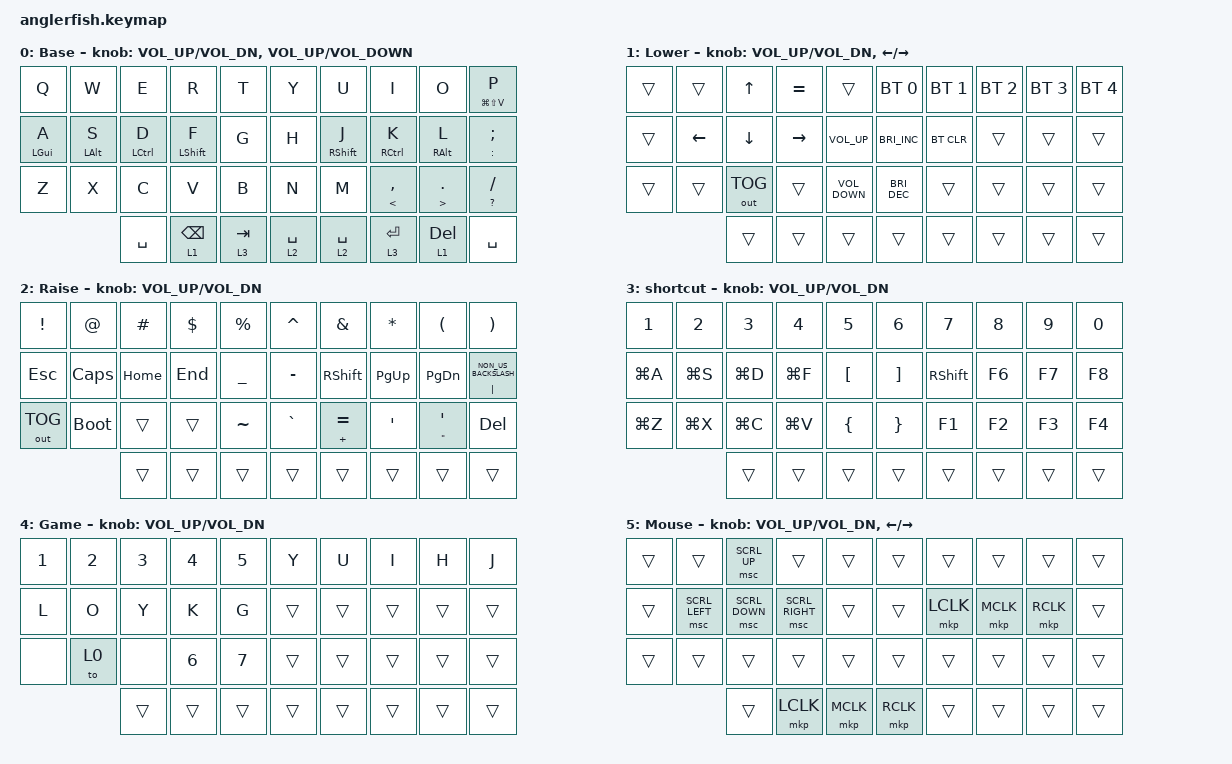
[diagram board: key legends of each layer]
#include <behaviors/mouse_keys.dtsi>
#include <dt-bindings/zmk/mouse.h>
#include <behaviors.dtsi>
#include <dt-bindings/zmk/bt.h>
#include <dt-bindings/zmk/keys.h>
#include <dt-bindings/zmk/outputs.h>
#include <dt-bindings/zmk/pointing.h>

&lt {
    tapping-term-ms = <240>;
    flavor = "balanced";
    quick-tap-ms = <150>;
};

&mt {
    global-quick-tap;
    flavor = "tap-preferred";
    tapping-term-ms = <200>;
};

&sk {
    release-after-ms = <2000>;
    quick-release;
};

/ {
    macros {
        bootload_macro: bootload_macro {
            compatible = "zmk,behavior-macro";
            #binding-cells = <0>;
            bindings = <&bootloader>;
            label = "BOOTLOAD_MACRO";
        };
    };

    combos {
        compatible = "zmk,combos";

        combo_esc {
            timeout-ms = <50>;
            key-positions = <0 1>;
            bindings = <&kp ESC>;
        };

        left_bkt {
            bindings = <&kp LEFT_BRACKET>;
            key-positions = <2 3>;
            timeout-ms = <50>;
        };

        right_bkt {
            bindings = <&kp RIGHT_BRACKET>;
            key-positions = <7 6>;
            timeout-ms = <50>;
        };

        left_par {
            bindings = <&kp LEFT_PARENTHESIS>;
            key-positions = <12 13>;
            timeout-ms = <50>;
        };

        right_par {
            bindings = <&kp RIGHT_PARENTHESIS>;
            key-positions = <16 17>;
            timeout-ms = <50>;
        };

        left_brace {
            bindings = <&kp LEFT_BRACE>;
            key-positions = <22 23>;
            timeout-ms = <50>;
        };

        right_brace {
            bindings = <&kp RIGHT_BRACE>;
            key-positions = <26 27>;
            timeout-ms = <50>;
        };

        bac {
            bindings = <&kp BACKSLASH>;
            key-positions = <5 6>;
            timeout-ms = <50>;
        };

        pipe {
            bindings = <&kp PIPE>;
            key-positions = <3 4>;
            timeout-ms = <50>;
        };
    };

    behaviors {
        hm: homerow_mods {
            compatible = "zmk,behavior-hold-tap";
            label = "HOMEROW_MODS";
            bindings = <&kp>, <&kp>;

            #binding-cells = <2>;
            tapping-term-ms = <200>;
            quick-tap-ms = <180>;
            flavor = "tap-preferred";
        };

        ltq: ltq {
            compatible = "zmk,behavior-hold-tap";
            label = "LTQ";
            bindings = <&mo>, <&kp>;

            #binding-cells = <2>;
            tapping-term-ms = <200>;
            quick-tap-ms = <180>;
        };

        as: auto_shift {
            compatible = "zmk,behavior-hold-tap";
            label = "AUTO_SHIFT";
            bindings = <&kp>, <&kp>;

            #binding-cells = <2>;
            tapping-term-ms = <135>;
            quick-tap-ms = <0>;
        };
    };

    keymap {
        compatible = "zmk,keymap";

        layer_0 {
            label = "Base";
            bindings = <
&kp Q           &kp W           &kp E               &kp R             &kp T                     &kp Y  &kp U              &kp I                &kp O                    &hm LG(LS(V)) P
&hm LEFT_GUI A  &hm LEFT_ALT S  &hm LEFT_CONTROL D  &hm LEFT_SHIFT F  &kp G                     &kp H  &hm RIGHT_SHIFT J  &hm RIGHT_CONTROL K  &hm RIGHT_ALT L          &as COLON SEMICOLON
&kp Z           &kp X           &kp C               &kp V             &kp B                     &kp N  &kp M              &as LESS_THAN COMMA  &as GREATER_THAN PERIOD  &as QUESTION SLASH
                                &kp SPACE           &ltq 1 BACKSPACE  &ltq 3 TAB  &ltq 2 SPACE         &ltq 2 SPACE       &ltq 3 ENTER         &ltq 1 DELETE            &kp SPACE
            >;

            sensor-bindings =
                <&inc_dec_kp C_VOL_UP C_VOL_DN>,
                <&inc_dec_kp C_VOLUME_UP C_VOLUME_DOWN>;
        };

        layer_1 {
            label = "Lower";
            bindings = <
&trans  &trans    &kp UP        &kp EQUAL  &trans                     &bt BT_SEL 0          &bt BT_SEL 1  &bt BT_SEL 2  &bt BT_SEL 3  &bt BT_SEL 4
&trans  &kp LEFT  &kp DOWN      &kp RIGHT  &kp C_VOLUME_UP            &kp C_BRIGHTNESS_INC  &bt BT_CLR    &trans        &trans        &trans
&trans  &trans    &out OUT_TOG  &trans     &kp C_VOLUME_DOWN          &kp C_BRI_DEC         &trans        &trans        &trans        &trans
                  &trans        &trans     &trans             &trans                        &trans        &trans        &trans        &trans
            >;

            sensor-bindings =
                <&inc_dec_kp C_VOL_UP C_VOL_DN>,
                <&inc_dec_kp LEFT_ARROW RIGHT_ARROW>;
        };

        layer_2 {
            label = "Raise";
            bindings = <
&kp EXCL      &kp AT        &kp HASH  &kp DLLR  &kp PRCNT               &kp CARET  &kp AMPS         &kp ASTERISK  &kp LPAR                        &kp RPAR
&kp ESCAPE    &kp CAPSLOCK  &kp HOME  &kp END   &kp UNDERSCORE          &kp MINUS  &kp RIGHT_SHIFT  &kp PAGE_UP   &kp PAGE_DOWN                   &as PIPE NON_US_BACKSLASH
&out OUT_TOG  &bootloader   &trans    &trans    &kp TILDE               &kp GRAVE  &as PLUS EQUAL   &kp SQT       &as DOUBLE_QUOTES SINGLE_QUOTE  &kp DELETE
                            &trans    &trans    &trans          &trans             &trans           &trans        &trans                          &trans
            >;

            sensor-bindings = <&inc_dec_kp C_VOL_UP C_VOL_DN>;
        };

        layer_3 {
            label = "shortcut";
            bindings = <
&kp NUMBER_1  &kp NUMBER_2  &kp NUMBER_3  &kp NUMBER_4  &kp NUMBER_5              &kp NUMBER_6       &kp NUMBER_7     &kp NUMBER_8  &kp NUMBER_9  &kp NUMBER_0
&kp LG(A)     &kp LG(S)     &kp LG(D)     &kp LG(F)     &kp LEFT_BRACKET          &kp RIGHT_BRACKET  &kp RIGHT_SHIFT  &kp F6        &kp F7        &kp F8
&kp LG(Z)     &kp LG(X)     &kp LG(C)     &kp LG(V)     &kp LEFT_BRACE            &kp RIGHT_BRACE    &kp F1           &kp F2        &kp F3        &kp F4
                            &trans        &trans        &trans            &trans                     &trans           &trans        &trans        &trans
            >;

            sensor-bindings = <&inc_dec_kp C_VOL_UP C_VOL_DN>;
        };

        Game {
            label = "Game";
            bindings = <
&kp NUMBER_1  &kp NUMBER_2  &kp NUMBER_3  &kp NUMBER_4  &kp NUMBER_5          &kp Y   &kp U   &kp I   &kp H   &kp J
&kp L         &kp O         &kp Y         &kp K         &kp G                 &trans  &trans  &trans  &trans  &trans
&none         &to 0         &none         &kp NUMBER_6  &kp NUMBER_7          &trans  &trans  &trans  &trans  &trans
                            &trans        &trans        &trans        &trans          &trans  &trans  &trans  &trans
            >;

            sensor-bindings = <&inc_dec_kp C_VOL_UP C_VOL_DN>;
        };

        Mouse {
            bindings = <
&trans  &trans          &msc SCRL_UP    &trans           &trans                &trans  &trans     &trans     &trans     &trans
&trans  &msc SCRL_LEFT  &msc SCRL_DOWN  &msc SCRL_RIGHT  &trans                &trans  &mkp LCLK  &mkp MCLK  &mkp RCLK  &trans
&trans  &trans          &trans          &trans           &trans                &trans  &trans     &trans     &trans     &trans
                        &trans          &mkp LCLK        &mkp MCLK  &mkp RCLK          &trans     &trans     &trans     &trans
            >;

            sensor-bindings =
                <&inc_dec_kp C_VOL_UP C_VOL_DN>,
                <&inc_dec_kp LEFT_ARROW RIGHT_ARROW>;
        };
    };
};
